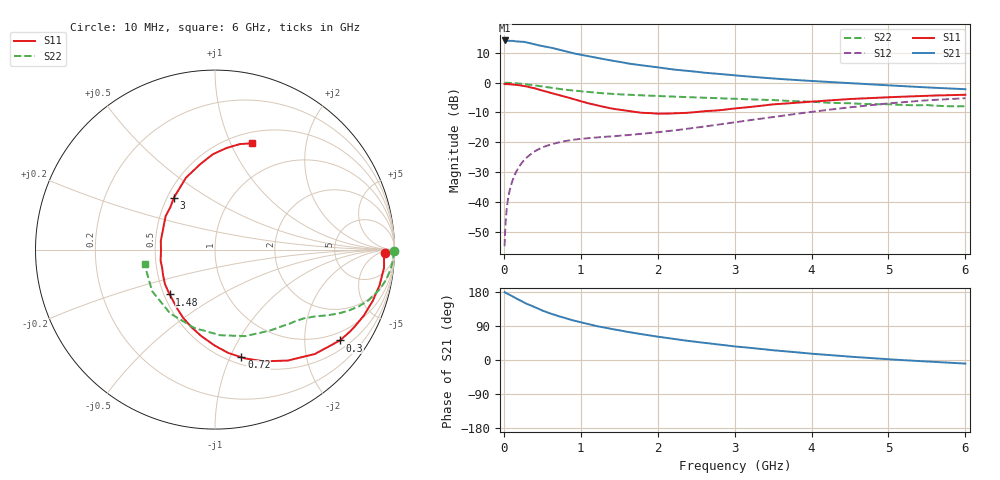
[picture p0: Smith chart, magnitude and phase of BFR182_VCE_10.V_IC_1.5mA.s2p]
! Infineon Technologies  Discrete & RF Semiconductors
! BFR182
! VCE =  10. V,  IC =  1.5 mA
! Common Emitter S-Parameters:  Nov 2015
# GHz  S  MA  R  50
!  f  S11  S21  S12  S22
! GHz  MAG  ANG  MAG  ANG  MAG  ANG  MAG  ANG
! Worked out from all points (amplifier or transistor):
!   210 points, 10 MHz to 6 GHz, reference 50 ohm
!   highest |S21| = 14.2 dB at 10 MHz (marker M1)
!   |S21| within 3 dB of that: start of sweep to 703.7 MHz
!   unconditionally stable (mu >= 1): 1.642 GHz to 3.268 GHz
!   at 185 MHz: K = 0.16, MSG = 21.3 dB, |S12| = -28.8 dB
!   at 1.52 GHz: K = 0.95, MSG = 12.3 dB, |S12| = -17.8 dB
!   at 6 GHz: K = 0.90, MSG = 1.5 dB, |S12| = -5.2 dB
!   S11 on the Smith chart (normalised r, x): 10 MHz: 33, -13; 300 MHz: 0.74, -2.91; 720 MHz: 0.57, -1.10; 1.48 GHz: 0.54, -0.31; 3 GHz: 0.54, +0.36; 6 GHz: 0.62, +1.20
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0.01  0.9492 -1.2  5.108 179.0  0.0018 94.2  0.9956 -0.5
0.02  0.9424 -2.4  5.06 177.6  0.0038 84.1  0.9938 -1.1
0.035  0.9443 -4.3  5.037 176.2  0.007 85.3  0.9939 -1.9
0.055  0.9458 -6.7  5.019 174.2  0.0113 85.1  0.9934 -2.9
0.085  0.9397 -10.4  5.039 171.1  0.0173 82.5  0.9895 -4.4
0.15  0.9242 -18.0  4.959 163.4  0.03 78.5  0.9782 -7.8
0.24  0.8887 -28.9  4.87 154.1  0.0461 72.5  0.9545 -12.0
0.3  0.8609 -36.0  4.732 148.0  0.0558 69.1  0.9336 -14.6
0.5  0.7397 -56.7  4.116 130.5  0.082 58.9  0.8625 -21.5
0.6  0.6792 -66.4  3.905 123.0  0.0907 55.2  0.8233 -24.2
0.72  0.6177 -76.2  3.569 115.2  0.0996 51.5  0.7837 -26.7
0.9  0.534 -90.3  3.115 104.6  0.1103 47.6  0.7384 -29.5
1.02  0.4801 -100.5  2.916 98.4  0.1145 46.2  0.7112 -31.1
1.2  0.4197 -115.0  2.627 89.8  0.1201 45.2  0.6775 -33.4
1.48  0.3551 -135.3  2.263 79.2  0.1279 45.6  0.6388 -36.3
2.02  0.301 -177.7  1.789 61.0  0.1483 49.5  0.5956 -42.5
2.4  0.3128 157.5  1.578 50.3  0.169 53.0  0.5707 -47.9
3  0.3688 128.5  1.325 35.9  0.215 55.4  0.5359 -58.6
3.1  0.3787 124.8  1.292 34.1  0.2248 55.2  0.529 -60.9
4.1  0.4909 98.1  1.049 15.1  0.3354 50.3  0.4692 -89.8
5.1  0.5755 82.2  0.887 0.7  0.4595 38.1  0.4269 -129.2
6  0.6265 71.0  0.776 -9.5  0.5483 23.3  0.4011 -168.1
